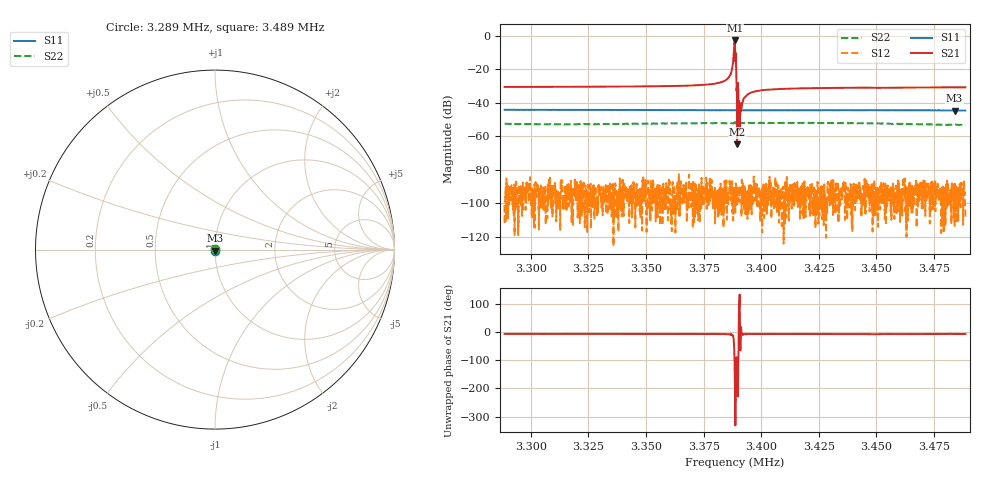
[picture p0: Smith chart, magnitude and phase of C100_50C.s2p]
# Hz S dB R 50.000
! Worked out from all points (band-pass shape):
!   6401 points, 3.289 MHz to 3.489 MHz, reference 50 ohm
!   highest |S21| = -2.90 dB at 3.389 MHz (marker M1); lowest = -64.7 dB at 3.39 MHz (marker M2)
!   |S21| within 3 dB of the highest: 3.388298 MHz to 3.388629 MHz (331 Hz wide, 0.00977 % of centre)
!   lowest |S11| = -44.7 dB at 3.484 MHz (marker M3), VSWR 1.01, Z = 49.9 - j0.58 ohm
!   |S11| at or under -10 dB: start of sweep to end of sweep
!   |S22| runs from -53.4 to -51.5 dB; largest |S21 - S12| = 0.72
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3288594  -44.21 -93.9  -30.59 -7.5  -100.95 -102.6  -52.53 108.7
3321938  -44.31 -94.6  -30.47 -7.5  -96.01 88.6  -52.82 106.9
3355282  -44.34 -95.9  -30.18 -7.7  -91.67 -3.6  -52.41 104.7
3382094  -44.55 -95.4  -27.93 -8.4  -96.07 -4.8  -52.22 106.4
3386125  -44.49 -95.5  -24.40 -8.5  -92.11 26.8  -52.07 106.8
3386813  -44.50 -95.6  -22.61 -9.5  -98.38 30.9  -52.18 107.8
3387344  -44.47 -95.2  -19.71 -10.9  -86.73 165.2  -52.15 108.1
3388063  -44.50 -95.5  -10.98 -31.9  -90.09 51.8  -52.27 108.3
3388406  -44.54 -95.6  -3.80 -102.9  -95.93 80.3  -51.72 111.1
3388594  -44.51 -95.3  -2.90 160.4  -96.78 168.9  -51.47 105.3
3389063  -44.52 -95.3  -16.70 -127.7  -88.62 16.5  -52.08 107.5
3389532  -44.55 -95.2  -64.72 147.8  -93.73 13.8  -52.07 108.4
3389719  -44.48 -95.1  -31.33 -140.3  -92.74 47.2  -52.00 107.4
3390188  -44.49 -95.5  -39.85 31.2  -99.02 -66.4  -52.15 107.2
3391094  -44.55 -95.3  -40.28 7.5  -91.11 107.3  -52.03 107.6
3392032  -44.51 -95.3  -39.28 -7.3  -88.30 17.2  -52.13 108.4
3393063  -44.49 -95.4  -36.38 -7.6  -98.59 50.9  -52.12 107.5
3396406  -44.51 -95.1  -33.61 -8.3  -100.83 156.2  -52.05 107.3
3421938  -44.52 -95.3  -31.34 -7.8  -89.21 31.0  -51.93 106.6
3455282  -44.53 -95.0  -31.05 -7.8  -92.99 8.0  -52.42 104.2
3483906  -44.68 -95.2  -30.84 -7.8  -113.47 167.4  -53.16 102.7
3488594  -44.65 -95.0  -30.84 -7.9  -109.74 77.2  -53.30 104.3
